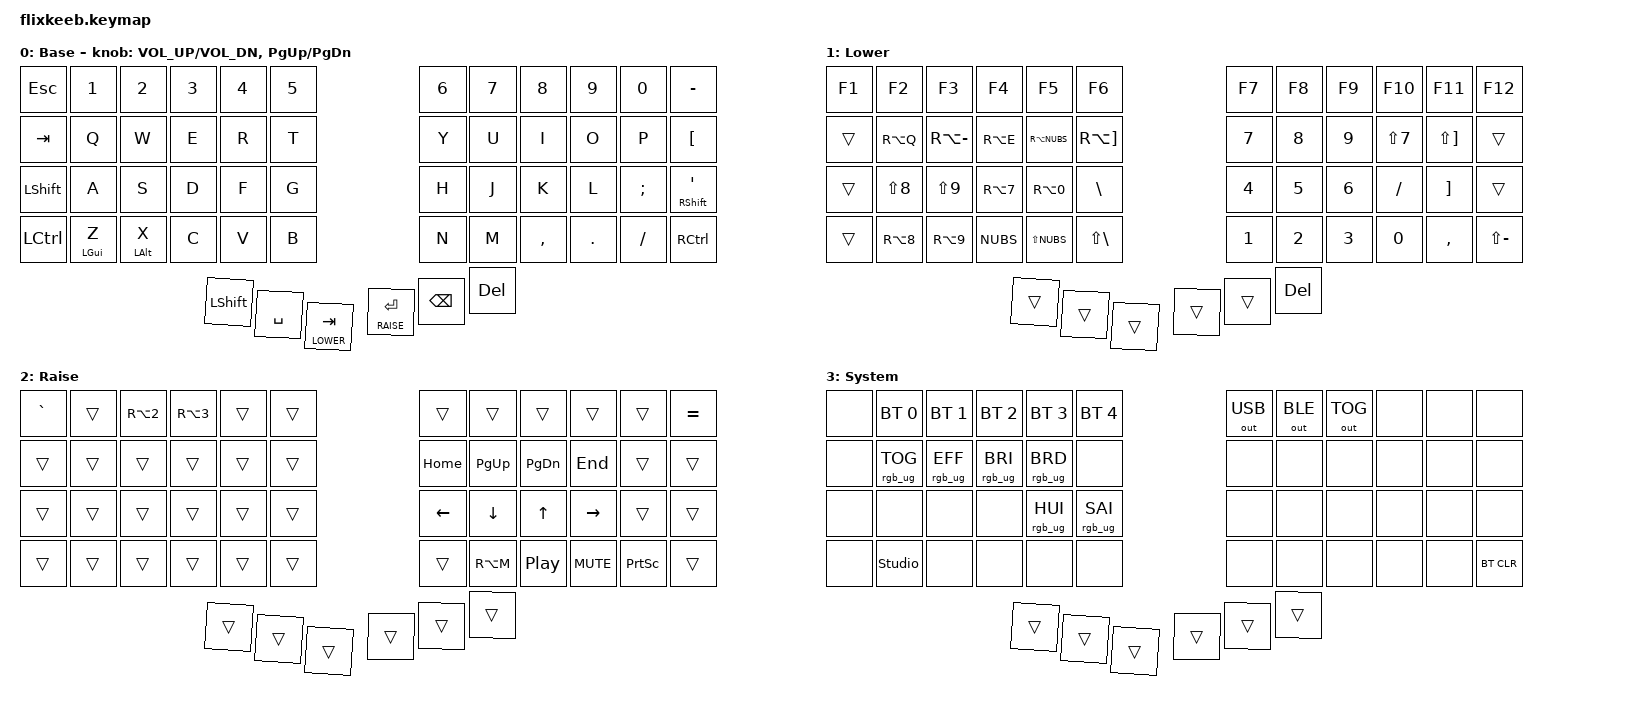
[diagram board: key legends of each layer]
/*
 * flixkeeb – ZMK-Keymap (2 x 27 Tasten, deutsches Layout)
 *
 * ============================================================================
 *  INHALT
 * ============================================================================
 *   0. Spickzettel ........ Tastenpositionen, Abkürzungen, Beispiele
 *   1. Includes
 *   2. Layer-Indizes
 *   3. Deutsche Zeichen ... #define-Namen (DE_AT, DE_LBKT, DE_UUML, ...)
 *   4. Behaviors .......... eigene Hold-Taps (lt_bal, mt_left, mt_right)
 *   5. Combos ............. Caps Word, System-Layer (+ deaktivierte Umlaut-Combos)
 *   6. Layer .............. BASE, LOWER, RAISE, SYSTEM
 *
 * ============================================================================
 *  0. SPICKZETTEL
 * ============================================================================
 *
 *  Tastenpositionen (Nummern, die Combos in "key-positions" brauchen)
 *  -------------------------------------------------------------------
 *       linke Hälfte                    rechte Hälfte
 *    0   1   2   3   4   5          6   7   8   9  10  11
 *   12  13  14  15  16  17         18  19  20  21  22  23
 *   24  25  26  27  28  29         30  31  32  33  34  35
 *   36  37  38  39  40  41         42  43  44  45  46  47
 *               48  49  50         51  52  53          <- Daumen
 *       (aussen -> innen)        (innen -> aussen)
 *
 *  Die Reihenfolge der Bindings in jedem Layer folgt genau diesen Nummern:
 *  Zeile für Zeile (je 12 Tasten), danach die 6 Daumentasten. Jeder Layer
 *  braucht genau 54 Einträge.
 *
 *  Abkürzungen
 *  -----------
 *   kp ....... key press (normale Taste)         mo ....... momentary layer
 *   mt ....... mod-tap (tippen = Taste, halten = Modifier)
 *   lt ....... layer-tap (tippen = Taste, halten = Layer)
 *   sk ....... sticky key      tog ...... toggle layer      to ....... gehe zu Layer
 *   trans .... transparent: reicht die Taste an den Layer darunter durch
 *   none ..... Taste tut nichts
 *   L/R vor Modifier: Left/Right.   LSHFT = linkes Shift, RALT = rechtes Alt (AltGr)
 *   Modifier-Funktionen:  LS(x) = Shift+x    LC(x) = Strg+x    LA(x) = Alt+x
 *                         RA(x) = AltGr+x    LG(x) = GUI+x     (Windows-/Super-Taste = GUI)
 *
 *  Beispiele zum Kopieren
 *  ----------------------
 *   &kp A                      Taste A
 *   &kp LS(A)                  Shift+A
 *   &kp DE_AT                  @ (Name aus Abschnitt 3)
 *   &kp LCTRL                  Strg dauerhaft gehalten, solange die Taste gedrückt ist
 *   &mo LOWER                  Layer LOWER, solange die Taste gehalten wird
 *   &to BASE                   dauerhaft zu Layer BASE wechseln
 *   &tog RAISE                 Layer RAISE ein-/ausschalten
 *   &sk LSHFT                  Sticky Shift: antippen, wirkt auf die nächste Taste
 *   &mt LCTRL A                Mod-Tap (Standard): tippen = A, halten = Strg
 *   &lt LOWER SPACE            Layer-Tap (Standard): tippen = Space, halten = LOWER
 *   &mt_left LGUI DE_Y         eigenes Mod-Tap links (Abschnitt 4): tippen = Y, halten = GUI
 *   &lt_bal RAISE RET          eigenes Layer-Tap (Abschnitt 4): tippen = Enter, halten = RAISE
 *   &trans                     durchreichen          &none   Taste sperren
 *   &bt BT_SEL 0               Bluetooth-Profil 0    &bt BT_CLR   aktives Profil löschen
 *   &out OUT_USB               Ausgabe: OUT_USB / OUT_BLE / OUT_TOG
 *   &rgb_ug RGB_TOG            LEDs: RGB_TOG, RGB_EFF, RGB_BRI, RGB_BRD, RGB_HUI, RGB_SAI
 *   &caps_word                 Caps Word (Großschreibung bis zum Wortende)
 *   &studio_unlock             ZMK Studio entsperren
 *   &inc_dec_kp A B            Encoder: Drehung rechts = A, links = B
 *
 *  Hold-Tap Einstellwerte (Abschnitt 4)
 *  ------------------------------------
 *   flavor "balanced"         Halten, sobald eine zweite Taste gedrückt und wieder
 *                             losgelassen wird oder die Haltezeit abläuft
 *   flavor "tap-preferred"    Halten nur nach Ablauf der Haltezeit (Standard bei &mt/&lt)
 *   tapping-term-ms           Haltezeit; höher = weniger Fehlauslösungen, träger
 *   quick-tap-ms              nach einem Tippen: erneuter Druck innerhalb dieser Zeit
 *                             ist immer ein Tippen (Wiederholung durch Halten)
 *   require-prior-idle-ms     direkt nach einer anderen Taste immer Tippen
 *   hold-trigger-key-positions  Halten nur, wenn die zweite Taste auf einer dieser
 *                             Positionen liegt (z.B. nur Taste der anderen Hand)
 */

// =============================================================================
//  1. INCLUDES
// =============================================================================
#include <behaviors.dtsi>
#include <dt-bindings/zmk/keys.h>
#include <dt-bindings/zmk/bt.h>
#include <dt-bindings/zmk/outputs.h>
#include <dt-bindings/zmk/rgb.h>

// =============================================================================
//  2. LAYER-INDIZES
//  Neue Layer immer hinten anhängen, die Reihenfolge der Layer-Blöcke in
//  Abschnitt 6 muss zu diesen Nummern passen.
// =============================================================================
#define BASE   0
#define LOWER  1
#define RAISE  2
#define SYSTEM 3

// =============================================================================
//  3. DEUTSCHE ZEICHEN
//  ZMK sendet US-Tastenpositionen, der Rechner steht auf dem deutschen Layout.
//  Die Namen DE_* geben an, welches Zeichen herauskommt.
//
//  keymap-drawer definiert das Makro KEYMAP_DRAWER. Dann werden die Namen
//  hier nicht aufgelöst, und keymap_drawer.config.yaml (zmk_keycode_map)
//  zeigt das Zeichen im Bild. Beim echten Firmware-Build ist es nicht gesetzt.
// =============================================================================
#ifndef KEYMAP_DRAWER

// --- Buchstaben, die auf DE vertauscht sind ----------------------------------
#define DE_Y      Z
#define DE_Z      Y

// --- Umlaute und ß -----------------------------------------------------------
#define DE_UUML   LBKT        // ü
#define DE_OUML   SEMI        // ö
#define DE_AUML   SQT         // ä
#define DE_SS     MINUS       // ß

// --- Zeichen der Zahlenreihe mit Shift ---------------------------------------
#define DE_EXCL   LS(N1)      // !
#define DE_DQT    LS(N2)      // "
#define DE_DLLR   LS(N4)      // $
#define DE_PRCNT  LS(N5)      // %
#define DE_AMPS   LS(N6)      // &
#define DE_SLASH  LS(N7)      // /
#define DE_LPAR   LS(N8)      // (
#define DE_RPAR   LS(N9)      // )
#define DE_EQUAL  LS(N0)      // =
#define DE_QMARK  LS(MINUS)   // ?

// --- Zeichen mit AltGr -------------------------------------------------------
#define DE_AT     RA(Q)       // @
#define DE_EURO   RA(E)       // €
#define DE_MU     RA(M)       // µ
#define DE_SUP2   RA(N2)      // ²
#define DE_SUP3   RA(N3)      // ³
#define DE_TILDE  RA(RBKT)    // ~
#define DE_LBKT   RA(N8)      // [
#define DE_RBKT   RA(N9)      // ]
#define DE_LBRC   RA(N7)      // {
#define DE_RBRC   RA(N0)      // }
#define DE_BSLH   RA(MINUS)   // \  (Backslash)
#define DE_PIPE   RA(NUBS)    // |

// --- Weitere Zeichen ---------------------------------------------------------
#define DE_HASH   BSLH        // #  (mit Shift: ')
#define DE_SQT    LS(BSLH)    // '
#define DE_PLUS   RBKT        // +  (mit Shift: *)
#define DE_ASTRK  LS(RBKT)    // *
#define DE_MINUS  FSLH        // -
#define DE_UNDER  LS(FSLH)    // _
#define DE_SEMI   LS(COMMA)   // ;
#define DE_COLON  LS(DOT)     // :
#define DE_LT     NUBS        // <
#define DE_GT     LS(NUBS)    // >

// --- Tottasten (erscheinen erst mit dem nächsten Zeichen, außer "nodeadkeys") -
#define DE_CARET  GRAVE       // ^  (mit Shift: °)
#define DE_ACUTE  EQUAL       // ´  (mit Shift: `)

#endif // KEYMAP_DRAWER

// =============================================================================
//  4. BEHAVIORS (eigene Hold-Taps)
// =============================================================================
/ {
    behaviors {

        // ---------------------------------------------------------------------
        // lt_bal  –  Layer-Tap für die Daumen
        //   Aufruf:  &lt_bal <LAYER> <TASTE>     z.B.  &lt_bal RAISE RET
        //   tippen = Taste, halten = Layer.
        //   "balanced": Wird beim Halten eine zweite Taste gedrückt, gilt der
        //   Layer. Das Standard-&lt würde dort die Taste tippen.
        // ---------------------------------------------------------------------
        lt_bal: layer_tap_balanced {
            compatible = "zmk,behavior-hold-tap";
            #binding-cells = <2>;
            flavor = "balanced";
            tapping-term-ms = <200>;
            quick-tap-ms = <150>;
            bindings = <&mo>, <&kp>;
        };

        // ---------------------------------------------------------------------
        // mt_left  –  Mod-Tap für die LINKE Hand (Y = GUI, X = Alt)
        //   Aufruf:  &mt_left <MODIFIER> <TASTE>   z.B.  &mt_left LGUI DE_Y
        //   Halten gilt nur, wenn die zweite Taste auf einer der Positionen
        //   unten liegt: rechte Hand, Zahlenreihe, Tab (Taste 12 und Daumen 50)
        //   und rechte Daumen. So geht GUI+L (Sperren) und Alt+Tab, ohne dass
        //   Y und X beim normalen Tippen zu Modifiern werden.
        // ---------------------------------------------------------------------
        mt_left: mod_tap_left {
            compatible = "zmk,behavior-hold-tap";
            #binding-cells = <2>;
            flavor = "balanced";
            tapping-term-ms = <250>;
            quick-tap-ms = <150>;
            require-prior-idle-ms = <120>;
            bindings = <&kp>, <&kp>;
            hold-trigger-key-positions = <0 1 2 3 4 5  6 7 8 9 10 11  12  18 19 20 21 22 23  30 31 32 33 34 35  42 43 44 45 46 47  50 51 52 53>;
            hold-trigger-on-release;
        };

        // ---------------------------------------------------------------------
        // mt_right  –  Mod-Tap für die RECHTE Hand (rechter kleiner Finger: ä / Shift)
        //   Aufruf:  &mt_right <MODIFIER> <TASTE>  z.B.  &mt_right RSHFT DE_AUML
        //   Halten gilt nur, wenn die zweite Taste auf der LINKEN Hand liegt
        //   (Tasten und linke Daumen). Rechtes Shift + Taste der rechten Hand
        //   ergibt daher ä + Buchstabe: dafür das linke Shift nutzen.
        // ---------------------------------------------------------------------
        mt_right: mod_tap_right {
            compatible = "zmk,behavior-hold-tap";
            #binding-cells = <2>;
            flavor = "balanced";
            tapping-term-ms = <250>;
            quick-tap-ms = <150>;
            require-prior-idle-ms = <120>;
            bindings = <&kp>, <&kp>;
            hold-trigger-key-positions = <0 1 2 3 4 5  12 13 14 15 16 17  24 25 26 27 28 29  36 37 38 39 40 41  48 49 50>;
            hold-trigger-on-release;
        };
    };
};

// =============================================================================
//  5. COMBOS
//  Zwei Tasten gleichzeitig (innerhalb von timeout-ms) lösen etwas anderes aus.
//  Positionsnummern: siehe Spickzettel. "layers = <BASE>": nur auf dem Base-Layer.
// =============================================================================
/ {
    combos {
        compatible = "zmk,combos";

        // --- aktiv: Caps Word (linkes Shift + rechtes Shift) -------------------
        combo_caps_word {
            timeout-ms = <50>;
            key-positions = <24 35>;
            bindings = <&caps_word>;
            layers = <BASE>;
        };

        // --- aktiv: System-Layer (Shift-Daumen + Entf-Daumen halten) -----------
        combo_system {
            timeout-ms = <30>;
            key-positions = <48 53>;
            bindings = <&mo SYSTEM>;
            layers = <BASE>;
        };

        // --- deaktiviert: Umlaut-Combos (Umlaute liegen jetzt direkt auf Tasten) -
        // Zum Einschalten die // entfernen.
        //
        // combo_auml {                      // A + Y  ->  ä
        //     timeout-ms = <40>;
        //     key-positions = <25 37>;
        //     bindings = <&kp DE_AUML>;
        //     layers = <BASE>;
        // };
        // combo_ouml {                      // O + L  ->  ö
        //     timeout-ms = <40>;
        //     key-positions = <21 33>;
        //     bindings = <&kp DE_OUML>;
        //     layers = <BASE>;
        // };
        // combo_uuml {                      // U + J  ->  ü
        //     timeout-ms = <40>;
        //     key-positions = <19 31>;
        //     bindings = <&kp DE_UUML>;
        //     layers = <BASE>;
        // };
        // combo_ss {                        // S + X  ->  ß
        //     timeout-ms = <40>;
        //     key-positions = <26 38>;
        //     bindings = <&kp DE_SS>;
        //     layers = <BASE>;
        // };
    };
};

// =============================================================================
//  6. LAYER
//  Jeder Layer hat 54 Bindings (4 x 12 Tasten, dann 6 Daumentasten).
//  Die Skizze über den Bindings wird aus den Bindings erzeugt, "x" = gesperrt,
//  leeres Feld = durchgereicht (&trans).
// =============================================================================
/ {
    keymap {
        compatible = "zmk,keymap";

        base_layer {
            display-name = "Base";
            //
            // BASE: Tippen. Deutsche Anordnung, Umlaute direkt auf ihren Tasten.
            // Y/GUI, X/ALT, ae/SHFT: antippen = Buchstabe, halten = Modifier.
            // TAB/LWR: antippen = Tab, halten = Lower.   ENT/RSE: antippen = Enter, halten = Raise.
            //
            // |  ESC  |   1   |   2   |   3   |   4   |   5   |   |   6   |   7   |   8   |   9   |   0   |   ss  |
            // |  TAB  |   Q   |   W   |   E   |   R   |   T   |   |   Z   |   U   |   I   |   O   |   P   |   ue  |
            // |  SHFT |   A   |   S   |   D   |   F   |   G   |   |   H   |   J   |   K   |   L   |   oe  |ae/SHFT|
            // |  CTRL | Y/GUI | X/ALT |   C   |   V   |   B   |   |   N   |   M   |   ,   |   .   |   -   |  CTRL |
            //                         |  SHFT |  SPC  |TAB/LOW|   |  BSPC |ENT/RAI|  DEL  |
            bindings = <
            &kp ESC    &kp N1              &kp N2           &kp N3     &kp N4     &kp N5               &kp N6             &kp N7        &kp N8     &kp N9   &kp N0        &kp DE_SS
            &kp TAB    &kp Q               &kp W            &kp E      &kp R      &kp T                &kp DE_Z           &kp U         &kp I      &kp O    &kp P         &kp DE_UUML
            &kp LSHFT  &kp A               &kp S            &kp D      &kp F      &kp G                &kp H              &kp J         &kp K      &kp L    &kp DE_OUML   &mt_right RSHFT DE_AUML
            &kp LCTRL  &mt_left LGUI DE_Y  &mt_left LALT X  &kp C      &kp V      &kp B                &kp N              &kp M         &kp COMMA  &kp DOT  &kp DE_MINUS  &kp RCTRL
                                                            &kp LSHFT  &kp SPACE  &lt_bal LOWER TAB    &lt_bal RAISE RET  &kp BSPC      &kp DEL
            >;
            sensor-bindings = <&inc_dec_kp C_VOL_UP C_VOL_DN &inc_dec_kp PG_UP PG_DN>;
        };

        lower_layer {
            display-name = "Lower";
            //
            // LOWER (halten: linker innerer Daumen): F-Tasten, Klammern, AltGr-Symbole, Numpad.
            // Leere Felder = durchgereicht an BASE (Shift, Strg, Tab, Enter usw. bleiben nutzbar).
            //
            // |   F1  |   F2  |   F3  |   F4  |   F5  |   F6  |   |   F7  |   F8  |   F9  |  F10  |  F11  |  F12  |
            // |       |   @   |   \   |  EUR  |   |   |   ~   |   |   7   |   8   |   9   |   /   |   *   |       |
            // |       |   (   |   )   |   {   |   }   |   #   |   |   4   |   5   |   6   |   -   |   +   |       |
            // |       |   [   |   ]   |   <   |   >   |   '   |   |   1   |   2   |   3   |   0   |   ,   |   ?   |
            //                         |       |       |       |   |       |       |  DEL  |
            bindings = <
            &kp F1  &kp F2       &kp F3       &kp F4       &kp F5       &kp F6          &kp F7  &kp F8  &kp F9   &kp F10       &kp F11       &kp F12
            &trans  &kp DE_AT    &kp DE_BSLH  &kp DE_EURO  &kp DE_PIPE  &kp DE_TILDE    &kp N7  &kp N8  &kp N9   &kp DE_SLASH  &kp DE_ASTRK  &trans
            &trans  &kp DE_LPAR  &kp DE_RPAR  &kp DE_LBRC  &kp DE_RBRC  &kp DE_HASH     &kp N4  &kp N5  &kp N6   &kp DE_MINUS  &kp DE_PLUS   &trans
            &trans  &kp DE_LBKT  &kp DE_RBKT  &kp DE_LT    &kp DE_GT    &kp DE_SQT      &kp N1  &kp N2  &kp N3   &kp N0        &kp COMMA     &kp DE_QMARK
                                              &trans       &trans       &trans          &trans  &trans  &kp DEL
            >;
        };

        raise_layer {
            display-name = "Raise";
            //
            // RAISE (halten: rechter mittlerer Daumen): Navigation, Sonderzeichen mit Totaste, Medien.
            // ^ mit Shift = Grad-Zeichen, acut mit Shift = Backtick.  Pfeile auf HJKL-Position.
            //
            // |   ^   |       |   ^2  |   ^3  |       |       |   |       |       |       |       |       |  acut |
            // |       |       |       |       |       |       |   |  HOME |  PgUp |  PgDn |  END  |       |       |
            // |       |       |       |       |       |       |   |   <-  |  DWN  |   UP  |   ->  |       |       |
            // |       |       |       |       |       |       |   |       |   my  |  PLAY |  MUTE |  PRNT |       |
            //                         |       |       |       |   |       |       |       |
            bindings = <
            &kp DE_CARET  &trans  &kp DE_SUP2  &kp DE_SUP3  &trans  &trans    &trans    &trans     &trans     &trans      &trans     &kp DE_ACUTE
            &trans        &trans  &trans       &trans       &trans  &trans    &kp HOME  &kp PG_UP  &kp PG_DN  &kp END     &trans     &trans
            &trans        &trans  &trans       &trans       &trans  &trans    &kp LEFT  &kp DOWN   &kp UP     &kp RIGHT   &trans     &trans
            &trans        &trans  &trans       &trans       &trans  &trans    &trans    &kp DE_MU  &kp C_PP   &kp C_MUTE  &kp PSCRN  &trans
                                               &trans       &trans  &trans    &trans    &trans     &trans
            >;
        };

        system_layer {
            display-name = "System";
            //
            // SYSTEM (halten: Shift-Daumen + Entf-Daumen gleichzeitig): Bluetooth, Ausgang, LEDs.
            // x = gesperrt (&none), damit hier nichts Falsches getippt wird.
            //
            // |   x   |  BT1  |  BT2  |  BT3  |  BT4  |  BT5  |   |  USB  |  BLE  |  TOG  |   x   |   x   |   x   |
            // |   x   |  TOG  |  EFF  |  BRI  |  BRD  |   x   |   |   x   |   x   |   x   |   x   |   x   |   x   |
            // |   x   |   x   |   x   |   x   |  HUI  |  SAI  |   |   x   |   x   |   x   |   x   |   x   |   x   |
            // |   x   |  UNLK |   x   |   x   |   x   |   x   |   |   x   |   x   |   x   |   x   |   x   | BTCLR |
            //                         |       |       |       |   |       |       |       |
            bindings = <
            &none  &bt BT_SEL 0     &bt BT_SEL 1     &bt BT_SEL 2     &bt BT_SEL 3     &bt BT_SEL 4       &out OUT_USB  &out OUT_BLE  &out OUT_TOG  &none  &none  &none
            &none  &rgb_ug RGB_TOG  &rgb_ug RGB_EFF  &rgb_ug RGB_BRI  &rgb_ug RGB_BRD  &none              &none         &none         &none         &none  &none  &none
            &none  &none            &none            &none            &rgb_ug RGB_HUI  &rgb_ug RGB_SAI    &none         &none         &none         &none  &none  &none
            &none  &studio_unlock   &none            &none            &none            &none              &none         &none         &none         &none  &none  &bt BT_CLR
                                                     &trans           &trans           &trans             &trans        &trans        &trans
            >;
        };
    };
};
